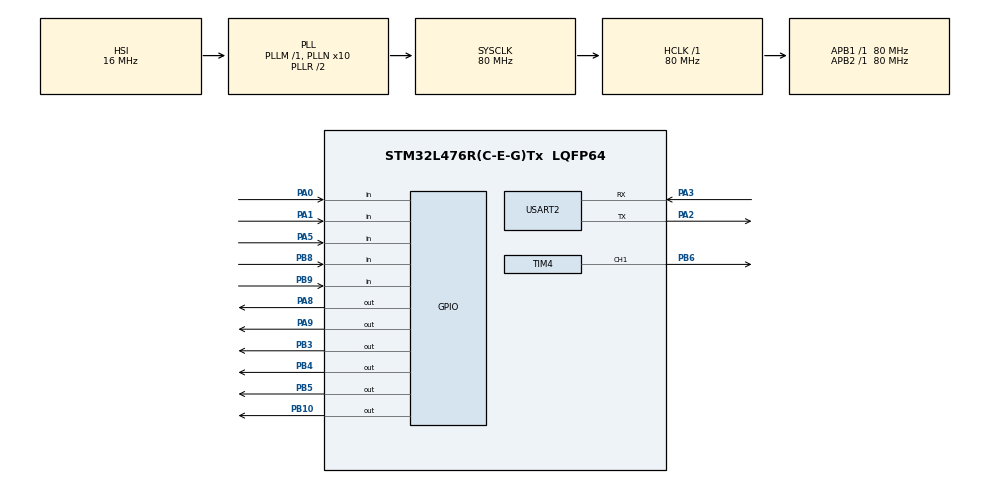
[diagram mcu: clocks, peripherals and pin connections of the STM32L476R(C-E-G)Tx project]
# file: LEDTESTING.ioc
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Dma.Request0=TIM4_CH1
Dma.TIM4_CH1.0.Direction=DMA_MEMORY_TO_PERIPH
Dma.TIM4_CH1.0.Instance=DMA1_Channel1
Dma.TIM4_CH1.0.MemDataAlignment=DMA_MDATAALIGN_HALFWORD
Dma.TIM4_CH1.0.MemInc=DMA_MINC_ENABLE
Dma.TIM4_CH1.0.Mode=DMA_CIRCULAR
Dma.TIM4_CH1.0.PeriphDataAlignment=DMA_PDATAALIGN_HALFWORD
Dma.TIM4_CH1.0.PeriphInc=DMA_PINC_DISABLE
Dma.TIM4_CH1.0.Priority=DMA_PRIORITY_LOW
Mcu.Family=STM32L4
Mcu.Name=STM32L476R(C-E-G)Tx
Mcu.Package=LQFP64
Mcu.UserConstants=LED_CNT,100
NVIC.DMA1_Channel1_IRQn=true\:0\:0\:false\:false\:true\:false\:true\:true
NVIC.PriorityGroup=NVIC_PRIORITYGROUP_4
NVIC.TIM2_IRQn=true\:0\:0\:false\:false\:true\:true\:true\:true
PA0.GPIO_PuPd=GPIO_PULLUP
PA0.Signal=GPIO_Input
PA1.GPIO_PuPd=GPIO_PULLUP
PA1.Signal=GPIO_Input
PA2.Mode=Asynchronous
PA2.Signal=USART2_TX
PA3.Mode=Asynchronous
PA3.Signal=USART2_RX
PA5.GPIO_PuPd=GPIO_PULLUP
PA5.Signal=GPIO_Input
PA8.Signal=GPIO_Output
PA9.Signal=GPIO_Output
PB10.Signal=GPIO_Output
PB3\ (JTDO-TRACESWO).Signal=GPIO_Output
PB4\ (NJTRST).Signal=GPIO_Output
PB5.Signal=GPIO_Output
PB6.Signal=S_TIM4_CH1
PB8.GPIO_PuPd=GPIO_PULLUP
PB8.Signal=GPIO_Input
PB9.GPIO_PuPd=GPIO_PULLUP
PB9.Signal=GPIO_Input
ProjectManager.HeapSize=0x200
ProjectManager.StackSize=0x400
ProjectManager.TargetToolchain=STM32CubeIDE
RCC.ADCFreq_Value=64000000
RCC.AHBFreq_Value=80000000
RCC.APB1Freq_Value=80000000
RCC.APB1TimFreq_Value=80000000
RCC.APB2Freq_Value=80000000
RCC.APB2TimFreq_Value=80000000
RCC.CortexFreq_Value=80000000
RCC.HCLKFreq_Value=80000000
RCC.HSE_VALUE=8000000
RCC.HSI_VALUE=16000000
RCC.LSE_VALUE=32768
RCC.MSI_VALUE=4000000
RCC.PLLN=10
RCC.PLLSourceVirtual=RCC_PLLSOURCE_HSI
RCC.SYSCLKFreq_VALUE=80000000
RCC.SYSCLKSource=RCC_SYSCLKSOURCE_PLLCLK
RCC.USBFreq_Value=64000000
RCC.VCOOutputFreq_Value=160000000
SH.S_TIM4_CH1.0=TIM4_CH1,PWM Generation1 CH1
TIM2.AutoReloadPreload=TIM_AUTORELOAD_PRELOAD_ENABLE
TIM2.ClockDivision=TIM_CLOCKDIVISION_DIV2
TIM2.CounterMode=TIM_COUNTERMODE_DOWN
TIM2.Period=999
TIM2.Prescaler=79
TIM4.Channel-PWM\ Generation1\ CH1=TIM_CHANNEL_1
TIM4.Period=LED_CNT
USART2.VirtualMode-Asynchronous=VM_ASYNC
VP_TIM2_VS_ClockSourceINT.Mode=Internal
VP_TIM4_VS_ClockSourceINT.Mode=Internal
board=custom

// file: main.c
/* USER CODE BEGIN Header */
/**
 ******************************************************************************
 * @file           : main.c
 * @brief          : Main program body
 ******************************************************************************
 * @attention
 *
 * Copyright (c) 2025 STMicroelectronics.
 * All rights reserved.
 *
 * This software is licensed under terms that can be found in the LICENSE file
 * in the root directory of this software component.
 * If no LICENSE file comes with this software, it is provided AS-IS.
 *
 ******************************************************************************
 */
/* USER CODE END Header */
#include "main.h"

/* USER CODE BEGIN Includes */
#include "ws2812.h"
#include <stdio.h>
#include "ws2812_demos.h"
/* USER CODE END Includes */

/* USER CODE BEGIN PTD */

typedef struct {
	uint8_t r;
	uint8_t g;
	uint8_t b;
} Color;
typedef struct {
	uint8_t position;
	Color color;
} LED_RING;

/* USER CODE END PTD */

/* USER CODE BEGIN PD */
#define ENCODER_CLK_Pin GPIO_PIN_0
#define ENCODER_CLK_GPIO_Port GPIOA
#define ENCODER_DT_Pin GPIO_PIN_1
#define ENCODER_DT_GPIO_Port GPIOA

// Button on PB8
#define ENCODER_BUTTON_GPIO_PIN GPIO_PIN_8
#define ENCODER_BUTTON_PORT GPIOB

// Colors
#define COLOR_RED   (Color){255, 0, 0}
#define COLOR_GREEN (Color){0, 255, 0}
#define COLOR_BLUE  (Color){0, 0, 255}
#define COLOR_WHITE (Color){255, 255, 255}
#define COLOR_OFF   (Color){0, 0, 0}/* USER CODE END PD */

TIM_HandleTypeDef htim2;
TIM_HandleTypeDef htim4;
DMA_HandleTypeDef hdma_tim4_ch1;
ws2812_handleTypeDef ws2812; // The WS2812 panel handler
UART_HandleTypeDef huart2;

/* USER CODE BEGIN PV */
static uint8_t lastCLKState;
volatile uint8_t rotationFlag = 0; // 1 for CW 2 for CWW
static uint8_t lastEncoderButtonState = GPIO_PIN_SET;
volatile uint8_t encoderButtonPressed = 0;  // For PB8

/* USER CODE END PV */

void SystemClock_Config(void);
static void MX_GPIO_Init(void);
static void MX_DMA_Init(void);
static void MX_USART2_UART_Init(void);
static void MX_TIM2_Init(void);
static void MX_TIM4_Init(void);
void setLedColor(ws2812_handleTypeDef *ws2812, uint16_t led, Color color);
/* USER CODE BEGIN PFP */

int _write(int fd, char *ptr, int len) {
	HAL_StatusTypeDef hstatus;

	if (fd == 1 || fd == 2) {
		hstatus = HAL_UART_Transmit(&huart2, (uint8_t*) ptr, len,
		HAL_MAX_DELAY);
		if (hstatus == HAL_OK)
			return len;
		else
			return -1;
	}
	return -1;
}
// Done sending first half of the DMA buffer - this can now safely be updated
void HAL_TIM_PWM_PulseFinishedHalfCpltCallback(TIM_HandleTypeDef *htim) {

	if (htim->Instance == TIM4) {
		ws2812_update_buffer(&ws2812, &ws2812.dma_buffer[0]);
	}

}

// Done sending the second half of the DMA buffer - this can now be safely updated
void HAL_TIM_PWM_PulseFinishedCallback(TIM_HandleTypeDef *htim) {

	if (htim->Instance == TIM4) {
		ws2812_update_buffer(&ws2812, &ws2812.dma_buffer[BUFFER_SIZE]);
	}

}

// On interrupt ever 1 ms, check for the rotations and also button presses
void HAL_TIM_PeriodElapsedCallback(TIM_HandleTypeDef *htim) {
	// First get the CLK and DATA from the encoder
	int8_t currentCLK = HAL_GPIO_ReadPin(ENCODER_CLK_GPIO_Port,
			ENCODER_CLK_Pin);
	uint8_t currentDT = HAL_GPIO_ReadPin(ENCODER_DT_GPIO_Port, ENCODER_DT_Pin);

	if (currentCLK == GPIO_PIN_RESET && lastCLKState == GPIO_PIN_SET) {
		if (currentDT != currentCLK) {
			rotationFlag = 1;  // CW
		} else {
			rotationFlag = 2;  // CCW
		}
	}
	lastCLKState = currentCLK;

	// Button checks
	uint8_t encoderButtonState = HAL_GPIO_ReadPin(ENCODER_BUTTON_PORT,
			ENCODER_BUTTON_GPIO_PIN);
	if (encoderButtonState == GPIO_PIN_RESET
			&& lastEncoderButtonState == GPIO_PIN_SET) {
		encoderButtonPressed = 1;
	}
	lastEncoderButtonState = encoderButtonState;
}

void setLedColor(ws2812_handleTypeDef *ws2812, uint16_t led, Color color) {
	setLedValues(ws2812, led, color.r, color.g, color.b);
}
/* USER CODE END PFP */

int main(void) {

	/* MCU Configuration--------------------------------------------------------*/

	/* Reset of all peripherals, Initializes the Flash interface and the Systick. */
	HAL_Init();

	/* Configure the system clock */
	SystemClock_Config();

	/* Initialize all configured peripherals */
	MX_GPIO_Init();
	MX_DMA_Init();
	MX_USART2_UART_Init();
	MX_TIM2_Init();
	MX_TIM4_Init();
	HAL_TIM_Base_Start_IT(&htim2);

	/* USER CODE BEGIN 2 */
	printf("Hello world!\n");

	ws2812_init(&ws2812, &htim4, TIM_CHANNEL_1, 24);

	ws2812_demos_set(&ws2812, 1);

	// Set the first LED to red
	/* USER CODE END 2 */
	LED_RING ledRing1;
	ledRing1.color = COLOR_BLUE;
	ledRing1.position = 0;

	LED_RING ledRing2;
	ledRing2.color = COLOR_BLUE;
	ledRing2.position = 0;

	// Ring 2 (next 12 LEDs)
	for (int i = 0; i < 12; i++) {
	    setLedColor(&ws2812, i + 12, COLOR_RED);  // For Ring 2 LEDs
	}
//	for (ledRing1.position = 0; ledRing1.position < 12; ledRing1.position++) {
//		zeroLedValues(&ws2812);  // Clear previous LEDs
//		setLedColor(&ws2812, ledRing1.position, COLOR_BLUE);
//		HAL_Delay(300);  // Wait 500ms
//	}
	/* Infinite loop */
	/* USER CODE BEGIN WHILE */

	while (1) {
		if (rotationFlag == 1) {
			if (ledRing1.position < 11) {
				ledRing1.position += 1;
			}
			printf("CW\n");
//			zeroLedValues(&ws2812);
			setLedColor(&ws2812, ledRing1.position, COLOR_BLUE);
			rotationFlag = 0;
		} else if (rotationFlag == 2) {
			if (ledRing1.position > 0) {
				setLedColor(&ws2812, ledRing1.position, COLOR_OFF);
				ledRing1.position -= 1;
			}
			printf("CCW\n");
//			zeroLedValues(&ws2812);
			setLedColor(&ws2812, ledRing1.position, COLOR_BLUE);
			rotationFlag = 0;
		}

		if (encoderButtonPressed) {
			printf("Encoder Button was pressed!\n");
			encoderButtonPressed = 0;
		}
	}
	/* USER CODE END WHILE */

	/* USER CODE END 3 */
}

void SystemClock_Config(void) {
	RCC_OscInitTypeDef RCC_OscInitStruct = { 0 };
	RCC_ClkInitTypeDef RCC_ClkInitStruct = { 0 };

	/** Configure the main internal regulator output voltage
	 */
	if (HAL_PWREx_ControlVoltageScaling(PWR_REGULATOR_VOLTAGE_SCALE1)
			!= HAL_OK) {
		Error_Handler();
	}

	/** Initializes the RCC Oscillators according to the specified parameters
	 * in the RCC_OscInitTypeDef structure.
	 */
	RCC_OscInitStruct.OscillatorType = RCC_OSCILLATORTYPE_HSI;
	RCC_OscInitStruct.HSIState = RCC_HSI_ON;
	RCC_OscInitStruct.HSICalibrationValue = RCC_HSICALIBRATION_DEFAULT;
	RCC_OscInitStruct.PLL.PLLState = RCC_PLL_ON;
	RCC_OscInitStruct.PLL.PLLSource = RCC_PLLSOURCE_HSI;
	RCC_OscInitStruct.PLL.PLLM = 1;
	RCC_OscInitStruct.PLL.PLLN = 10;
	RCC_OscInitStruct.PLL.PLLP = RCC_PLLP_DIV7;
	RCC_OscInitStruct.PLL.PLLQ = RCC_PLLQ_DIV2;
	RCC_OscInitStruct.PLL.PLLR = RCC_PLLR_DIV2;
	if (HAL_RCC_OscConfig(&RCC_OscInitStruct) != HAL_OK) {
		Error_Handler();
	}

	/** Initializes the CPU, AHB and APB buses clocks
	 */
	RCC_ClkInitStruct.ClockType = RCC_CLOCKTYPE_HCLK | RCC_CLOCKTYPE_SYSCLK
			| RCC_CLOCKTYPE_PCLK1 | RCC_CLOCKTYPE_PCLK2;
	RCC_ClkInitStruct.SYSCLKSource = RCC_SYSCLKSOURCE_PLLCLK;
	RCC_ClkInitStruct.AHBCLKDivider = RCC_SYSCLK_DIV1;
	RCC_ClkInitStruct.APB1CLKDivider = RCC_HCLK_DIV1;
	RCC_ClkInitStruct.APB2CLKDivider = RCC_HCLK_DIV1;

	if (HAL_RCC_ClockConfig(&RCC_ClkInitStruct, FLASH_LATENCY_4) != HAL_OK) {
		Error_Handler();
	}
}

static void MX_TIM2_Init(void) {

	TIM_ClockConfigTypeDef sClockSourceConfig = { 0 };
	TIM_MasterConfigTypeDef sMasterConfig = { 0 };

	htim2.Instance = TIM2;
	htim2.Init.Prescaler = 79;
	htim2.Init.CounterMode = TIM_COUNTERMODE_DOWN;
	htim2.Init.Period = 999;
	htim2.Init.ClockDivision = TIM_CLOCKDIVISION_DIV2;
	htim2.Init.AutoReloadPreload = TIM_AUTORELOAD_PRELOAD_ENABLE;
	if (HAL_TIM_Base_Init(&htim2) != HAL_OK) {
		Error_Handler();
	}
	sClockSourceConfig.ClockSource = TIM_CLOCKSOURCE_INTERNAL;
	if (HAL_TIM_ConfigClockSource(&htim2, &sClockSourceConfig) != HAL_OK) {
		Error_Handler();
	}
	sMasterConfig.MasterOutputTrigger = TIM_TRGO_RESET;
	sMasterConfig.MasterSlaveMode = TIM_MASTERSLAVEMODE_DISABLE;
	if (HAL_TIMEx_MasterConfigSynchronization(&htim2, &sMasterConfig)
			!= HAL_OK) {
		Error_Handler();
	}

}

static void MX_TIM4_Init(void) {

	TIM_ClockConfigTypeDef sClockSourceConfig = { 0 };
	TIM_MasterConfigTypeDef sMasterConfig = { 0 };
	TIM_OC_InitTypeDef sConfigOC = { 0 };

	htim4.Instance = TIM4;
	htim4.Init.Prescaler = 0;
	htim4.Init.CounterMode = TIM_COUNTERMODE_UP;
	htim4.Init.Period = LED_CNT;
	htim4.Init.ClockDivision = TIM_CLOCKDIVISION_DIV1;
	htim4.Init.AutoReloadPreload = TIM_AUTORELOAD_PRELOAD_DISABLE;
	if (HAL_TIM_Base_Init(&htim4) != HAL_OK) {
		Error_Handler();
	}
	sClockSourceConfig.ClockSource = TIM_CLOCKSOURCE_INTERNAL;
	if (HAL_TIM_ConfigClockSource(&htim4, &sClockSourceConfig) != HAL_OK) {
		Error_Handler();
	}
	if (HAL_TIM_PWM_Init(&htim4) != HAL_OK) {
		Error_Handler();
	}
	sMasterConfig.MasterOutputTrigger = TIM_TRGO_RESET;
	sMasterConfig.MasterSlaveMode = TIM_MASTERSLAVEMODE_DISABLE;
	if (HAL_TIMEx_MasterConfigSynchronization(&htim4, &sMasterConfig)
			!= HAL_OK) {
		Error_Handler();
	}
	sConfigOC.OCMode = TIM_OCMODE_PWM1;
	sConfigOC.Pulse = 0;
	sConfigOC.OCPolarity = TIM_OCPOLARITY_HIGH;
	sConfigOC.OCFastMode = TIM_OCFAST_DISABLE;
	if (HAL_TIM_PWM_ConfigChannel(&htim4, &sConfigOC, TIM_CHANNEL_1)
			!= HAL_OK) {
		Error_Handler();
	}
	HAL_TIM_MspPostInit(&htim4);

}

static void MX_USART2_UART_Init(void) {

	huart2.Instance = USART2;
	huart2.Init.BaudRate = 115200;
	huart2.Init.WordLength = UART_WORDLENGTH_8B;
	huart2.Init.StopBits = UART_STOPBITS_1;
	huart2.Init.Parity = UART_PARITY_NONE;
	huart2.Init.Mode = UART_MODE_TX_RX;
	huart2.Init.HwFlowCtl = UART_HWCONTROL_NONE;
	huart2.Init.OverSampling = UART_OVERSAMPLING_16;
	huart2.Init.OneBitSampling = UART_ONE_BIT_SAMPLE_DISABLE;
	huart2.AdvancedInit.AdvFeatureInit = UART_ADVFEATURE_NO_INIT;
	if (HAL_UART_Init(&huart2) != HAL_OK) {
		Error_Handler();
	}

}

static void MX_DMA_Init(void) {

	/* DMA controller clock enable */
	__HAL_RCC_DMA1_CLK_ENABLE();

	/* DMA interrupt init */
	/* DMA1_Channel1_IRQn interrupt configuration */
	HAL_NVIC_SetPriority(DMA1_Channel1_IRQn, 0, 0);
	HAL_NVIC_EnableIRQ(DMA1_Channel1_IRQn);

}

static void MX_GPIO_Init(void) {
	GPIO_InitTypeDef GPIO_InitStruct = { 0 };

	/* GPIO Ports Clock Enable */
	__HAL_RCC_GPIOA_CLK_ENABLE();
	__HAL_RCC_GPIOB_CLK_ENABLE();

	/*Configure GPIO pin Output Level */
	HAL_GPIO_WritePin(GPIOB, GPIO_PIN_10 | GPIO_PIN_3 | GPIO_PIN_4 | GPIO_PIN_5,
			GPIO_PIN_RESET);

	/*Configure GPIO pin Output Level */
	HAL_GPIO_WritePin(GPIOA, GPIO_PIN_8 | GPIO_PIN_9, GPIO_PIN_RESET);

	/*Configure GPIO pins : PA0 PA1 PA5 */
	GPIO_InitStruct.Pin = GPIO_PIN_0 | GPIO_PIN_1 | GPIO_PIN_5;
	GPIO_InitStruct.Mode = GPIO_MODE_INPUT;
	GPIO_InitStruct.Pull = GPIO_PULLUP;
	HAL_GPIO_Init(GPIOA, &GPIO_InitStruct);

	/*Configure GPIO pins : PB10 PB3 PB4 PB5 */
	GPIO_InitStruct.Pin = GPIO_PIN_10 | GPIO_PIN_3 | GPIO_PIN_4 | GPIO_PIN_5;
	GPIO_InitStruct.Mode = GPIO_MODE_OUTPUT_PP;
	GPIO_InitStruct.Pull = GPIO_NOPULL;
	GPIO_InitStruct.Speed = GPIO_SPEED_FREQ_LOW;
	HAL_GPIO_Init(GPIOB, &GPIO_InitStruct);

	/*Configure GPIO pins : PA8 PA9 */
	GPIO_InitStruct.Pin = GPIO_PIN_8 | GPIO_PIN_9;
	GPIO_InitStruct.Mode = GPIO_MODE_OUTPUT_PP;
	GPIO_InitStruct.Pull = GPIO_NOPULL;
	GPIO_InitStruct.Speed = GPIO_SPEED_FREQ_LOW;
	HAL_GPIO_Init(GPIOA, &GPIO_InitStruct);

	/*Configure GPIO pins : PB8 PB9 */
	GPIO_InitStruct.Pin = GPIO_PIN_8 | GPIO_PIN_9;
	GPIO_InitStruct.Mode = GPIO_MODE_INPUT;
	GPIO_InitStruct.Pull = GPIO_PULLUP;
	HAL_GPIO_Init(GPIOB, &GPIO_InitStruct);

}

void Error_Handler(void) {
	__disable_irq();
	while (1) {
	}
}
